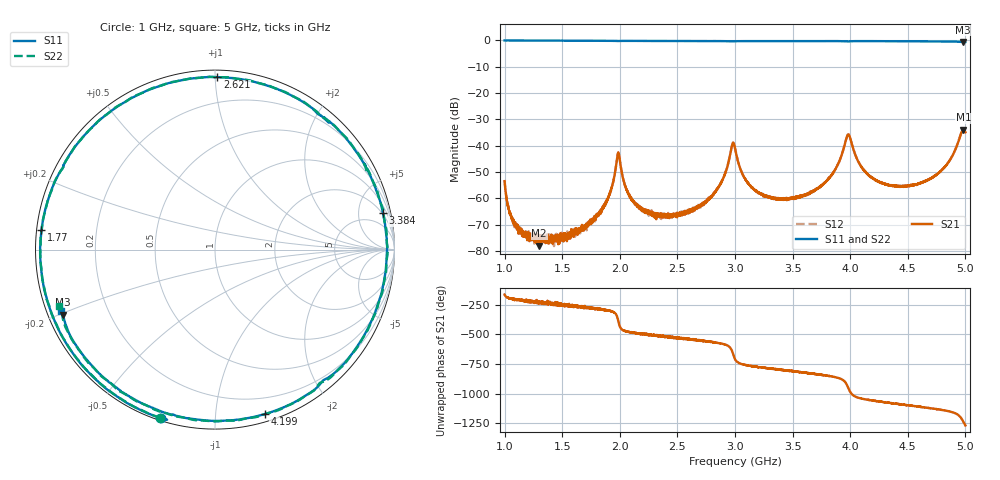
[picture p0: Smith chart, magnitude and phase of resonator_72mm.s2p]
!Keysight Technologies,N5242A,MY48420869,A.10.65.01
!Date: Wednesday, September 11, 2019 19:31:13
!Correction: S33(Full 4 Port(1,2,3,4))
!S43(Full 4 Port(1,2,3,4))
!S34(Full 4 Port(1,2,3,4))
!S44(Full 4 Port(1,2,3,4))
!S2P File: Measurements: S33, S43, S34, S44:
!Created with skrf (http://scikit-rf.org).
# Hz S RI R 50.0
!freq ReS11 ImS11 ReS21 ImS21 ReS12 ImS12 ReS22 ImS22
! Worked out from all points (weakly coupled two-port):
!   4001 points, 1 GHz to 5 GHz, reference 50 ohm
!   highest |S21| = -33.92 dB at 4.983 GHz (marker M1); lowest = -77.9 dB at 1.301 GHz (marker M2)
!   lowest |S11| = -0.7 dB at 4.98 GHz (marker M3), VSWR 24.13, Z = 2.16 - j10.3 ohm
!   |S11| at or under -10 dB: nowhere
!   |S22| runs from -0.7 to -0.1 dB; largest |S21 - S12| = 0.00055
!   S11 on the Smith chart (normalised r, x): 1 GHz: 0.01, -0.73; 1.77 GHz: 0.01, +0.06; 2.621 GHz: 0.04, +1.01; 3.384 GHz: 1.82, +8.95; 4.199 GHz: 0.06, -1.34; 5 GHz: 0.04, -0.19
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1e9  -0.3021 -0.9383  -0.00204 -0.000569  -0.00207 -0.000539  -0.3042 -0.9358
1.092e9  -0.4551 -0.8733  -0.000293 0.000139  -0.000274 0.000133  -0.459 -0.8714
1.301e9  -0.742 -0.6426  -8.67e-05 9.34e-05  -0.000117 0.000137  -0.7454 -0.6363
1.667e9  -0.9727 -0.0636  1.07e-05 0.000287  -8.87e-07 0.000286  -0.9738 -0.056
1.77e9  -0.9669 0.1104  6e-05 0.000362  7.85e-05 0.000357  -0.9635 0.1207
1.902e9  -0.9133 0.3263  0.000496 0.000919  0.00054 0.000933  -0.9076 0.3366
1.987e9  -0.8494 0.4519  0.0064 -0.00363  0.00648 -0.00363  -0.8438 0.4611
2.103e9  -0.7472 0.6143  -0.000529 -0.000777  -0.000591 -0.000764  -0.7372 0.6246
2.334e9  -0.4478 0.8535  -0.00044 -0.000262  -0.000438 -0.00023  -0.4326 0.8627
2.621e9  0.0133 0.9607  -0.000583 2.12e-05  -0.000605 7.03e-05  0.0309 0.9603
2.844e9  0.3758 0.8827  -0.00127 0.000747  -0.00125 0.000758  0.3934 0.8769
3e9  0.5911 0.7463  0.0088 0.00182  0.00882 0.00182  0.6065 0.7334
3.127e9  0.7485 0.598  0.00125 -0.00125  0.00129 -0.00129  0.7643 0.5794
3.384e9  0.9358 0.2033  0.000259 -0.000958  0.000219 -0.000963  0.9418 0.1775
3.667e9  0.9145 -0.2836  -0.000474 -0.00125  -0.000463 -0.00123  0.9091 -0.3066
3.983e9  0.6027 -0.7283  -0.0103 0.0126  -0.0104 0.0127  0.582 -0.7442
4.199e9  0.2765 -0.9167  0.00221 0.000852  0.00225 0.000872  0.2518 -0.9266
4.334e9  0.0378 -0.9539  0.00178 6.71e-05  0.00182 8.48e-05  0.0101 -0.9569
4.748e9  -0.6345 -0.7003  0.0018 -0.00213  0.00178 -0.00214  -0.6571 -0.6795
4.98e9  -0.8458 -0.3631  -0.0179 -0.00881  -0.018 -0.00892  -0.8573 -0.3355
4.983e9  -0.8474 -0.36  -0.0188 -0.00709  -0.0189 -0.00716  -0.8587 -0.3323
5e9  -0.8583 -0.3414  -0.0177 0.00265  -0.0178 0.00266  -0.8694 -0.3135
